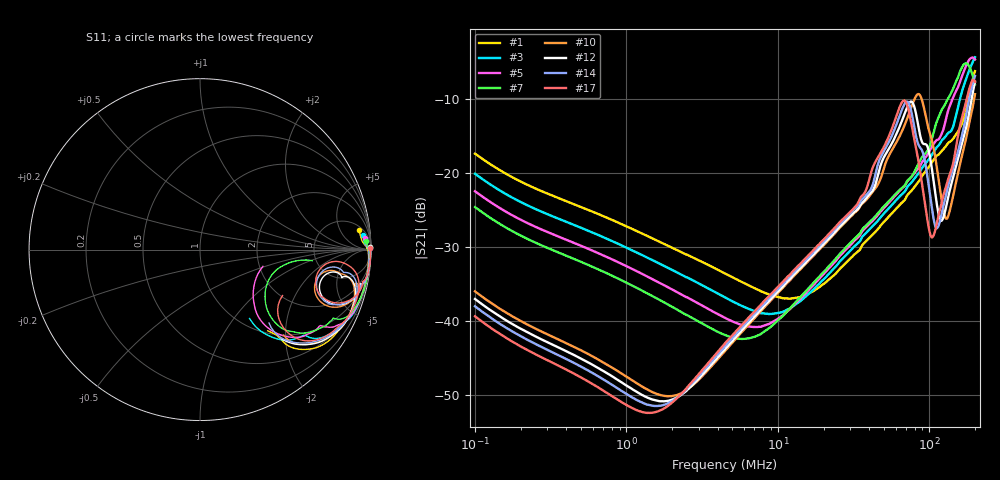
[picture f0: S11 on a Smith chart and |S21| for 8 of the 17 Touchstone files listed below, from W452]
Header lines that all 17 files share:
#  HZ  S  RI  R  50.00
! Rohde & Schwarz Vector Network Analyzer
! Rohde-Schwarz,ZNLE6-2Port,1323001256200024,1.71.1.10-23.02.1.238
! freq[Hz]  re:S11  im:S11  re:S21  im:S21  re:S12  im:S12  re:S22  im:S22
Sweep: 100 kHz to 200 MHz
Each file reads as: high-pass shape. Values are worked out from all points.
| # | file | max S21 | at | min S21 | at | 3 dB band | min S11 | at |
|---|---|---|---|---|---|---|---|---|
| 1 | 11.s2p | -6.17 dB | 200 MHz | -36.9 dB | 11.74 MHz | 184 MHz-200 MHz | -4.2 dB | 200 MHz |
| 2 | 12.s2p | -4.88 dB | 200 MHz | -38.1 dB | 10.64 MHz | 179.8 MHz-200 MHz | -4.8 dB | 200 MHz |
| 3 | 13.s2p | -4.30 dB | 200 MHz | -39.0 dB | 8.796 MHz | 174.4 MHz-200 MHz | -6.1 dB | 200 MHz |
| 4 | 14.s2p | -4.12 dB | 200 MHz | -39.9 dB | 7.672 MHz | 167.9 MHz-200 MHz | -8.9 dB | 200 MHz |
| 5 | 15.s2p | -4.34 dB | 192.5 MHz | -40.8 dB | 7.003 MHz | 161.7 MHz-200 MHz | -8.7 dB | 197 MHz |
| 6 | 16.s2p | -4.54 dB | 184 MHz | -41.6 dB | 6.392 MHz | 156.8 MHz-200 MHz | -8.5 dB | 189.6 MHz |
| 7 | 17.s2p | -5.11 dB | 174.4 MHz | -42.4 dB | 5.791 MHz | 146.4 MHz-200 MHz | -7.1 dB | 177.1 MHz |
| 8 | 18.s2p | -5.59 dB | 167.9 MHz | -43.1 dB | 5.533 MHz | 139.9 MHz-191.1 MHz | -6.7 dB | 170.5 MHz |
| 9 | 32.s2p | -9.04 dB | 88.01 MHz | -49.8 dB | 2.013 MHz | 75.6 MHz-97.89 MHz | -3.3 dB | 90.72 MHz |
| 10 | 33.s2p | -9.27 dB | 84.73 MHz | -50.1 dB | 1.88 MHz | 72.23 MHz-94.24 MHz | -3.1 dB | 200 MHz |
| 11 | 34.s2p | -8.28 dB | 200 MHz | -50.5 dB | 1.824 MHz | 73.89 MHz-85.37 MHz | -2.8 dB | 200 MHz |
| 12 | 35.s2p | -7.60 dB | 200 MHz | -50.8 dB | 1.756 MHz | 188.2 MHz-200 MHz | -3.0 dB | 200 MHz |
| 13 | 36.s2p | -7.54 dB | 200 MHz | -51.1 dB | 1.665 MHz | 186.8 MHz-200 MHz | -3.7 dB | 200 MHz |
| 14 | 37.s2p | -6.83 dB | 200 MHz | -51.4 dB | 1.531 MHz | 184 MHz-200 MHz | -4.6 dB | 200 MHz |
| 15 | 38.s2p | -6.31 dB | 200 MHz | -51.7 dB | 1.463 MHz | 181.2 MHz-200 MHz | -6.0 dB | 200 MHz |
| 16 | 39.s2p | -7.08 dB | 198.5 MHz | -52.0 dB | 1.463 MHz | 178.4 MHz-200 MHz | -5.5 dB | 200 MHz |
| 17 | 40.s2p | -7.37 dB | 195.5 MHz | -52.4 dB | 1.377 MHz | 174.4 MHz-200 MHz | -5.2 dB | 200 MHz |
